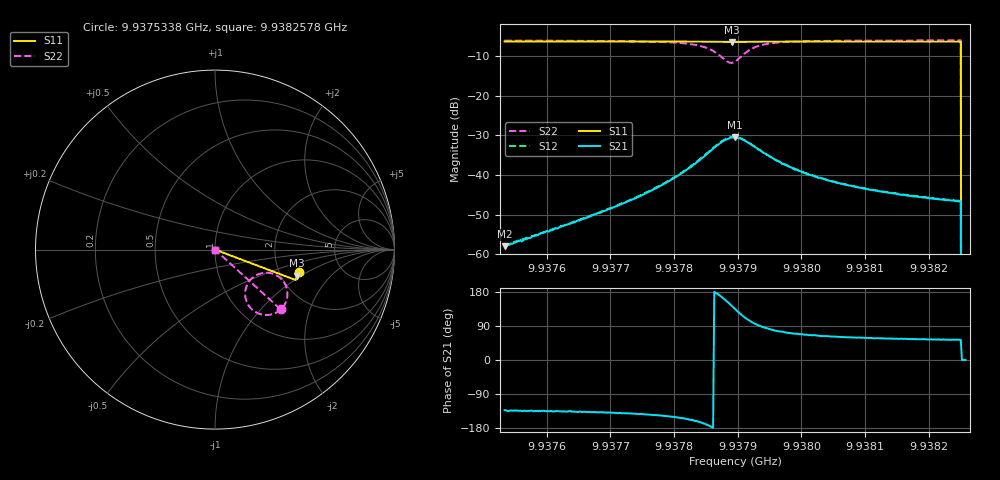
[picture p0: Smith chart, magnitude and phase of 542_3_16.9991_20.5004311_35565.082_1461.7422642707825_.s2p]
#  HZ  S  RI  R  50.00
! Rohde & Schwarz Vector Network Analyzer
! Rohde-Schwarz,ZNB20-2Port,1311601062101988,3.16
! Created: UTC 3/20/2024, 11:16:22 PM
! freq[Hz]  re:S11  im:S11  re:S21  im:S21  re:S12  im:S12  re:S22  im:S22
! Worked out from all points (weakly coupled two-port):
!   401 points, 9.9375338 GHz to 9.9382578 GHz, reference 50 ohm
!   highest |S21| = -30.46 dB at 9.9378958 GHz (marker M1); lowest = -57.9 dB at 9.9375338 GHz (marker M2)
!   lowest |S11| = -6.4 dB at 9.9378904 GHz (marker M3), VSWR 2.83, Z = 121 - j45.7 ohm
!   |S11| at or under -10 dB: 9.9382506 GHz to end of sweep
!   |S22| runs from - to -6.1 dB; largest |S21 - S12| = 0.0013
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9.93753377e9  0.4665 -0.1237  -0.000853 -0.000939  -0.000899 -0.000951  0.3676 -0.3328
9.93756455e9  0.4658 -0.1258  -0.00106 -0.00111  -0.00112 -0.00111  0.3648 -0.3353
9.93765505e9  0.4635 -0.1317  -0.00203 -0.00188  -0.00208 -0.00193  0.3516 -0.3448
9.93773651e9  0.4615 -0.1374  -0.00391 -0.00314  -0.00406 -0.00307  0.331 -0.3555
9.93777633e9  0.4603 -0.1401  -0.00594 -0.00397  -0.00612 -0.00396  0.3118 -0.3615
9.93781796e9  0.459 -0.143  -0.0103 -0.00482  -0.0106 -0.00474  0.2737 -0.3639
9.93785054e9  0.4572 -0.1452  -0.0178 -0.00307  -0.0183 -0.00292  0.2148 -0.3406
9.93786321e9  0.4562 -0.1457  -0.0221 0.000142  -0.0226 0.000678  0.1853 -0.3085
9.93787407e9  0.4555 -0.1458  -0.0251 0.00584  -0.0256 0.00655  0.1686 -0.2603
9.93788312e9  0.455 -0.1456  -0.0255 0.0123  -0.0258 0.0132  0.1746 -0.2078
9.93789036e9  0.4549 -0.1454  -0.0238 0.0178  -0.0236 0.0188  0.1983 -0.1672
9.93789579e9  0.455 -0.1454  -0.0211 0.0213  -0.0207 0.0223  0.2263 -0.1448
9.93790484e9  0.4555 -0.1453  -0.0147 0.0248  -0.014 0.0255  0.2806 -0.1288
9.93791752e9  0.4561 -0.1459  -0.00664 0.0246  -0.00585 0.0249  0.3435 -0.1439
9.93793743e9  0.4565 -0.1475  0.000637 0.0198  0.00102 0.0199  0.3903 -0.1922
9.93797182e9  0.4562 -0.1506  0.00373 0.0134  0.00419 0.0133  0.4037 -0.2497
9.93801707e9  0.4552 -0.1539  0.0042 0.00892  0.00434 0.00898  0.3974 -0.2855
9.93806956e9  0.4538 -0.1577  0.00372 0.00655  0.00393 0.00656  0.3886 -0.3059
9.93813835e9  0.4519 -0.1622  0.00329 0.00499  0.00344 0.00498  0.3791 -0.3208
9.93824695e9  0.4489 -0.1693  0.00278 0.00374  0.00291 0.00376  0.3679 -0.3347
9.938256e9  0 0  0 0  0 0  0 0
9.93825781e9  0 0  0 0  0 0  0 0
